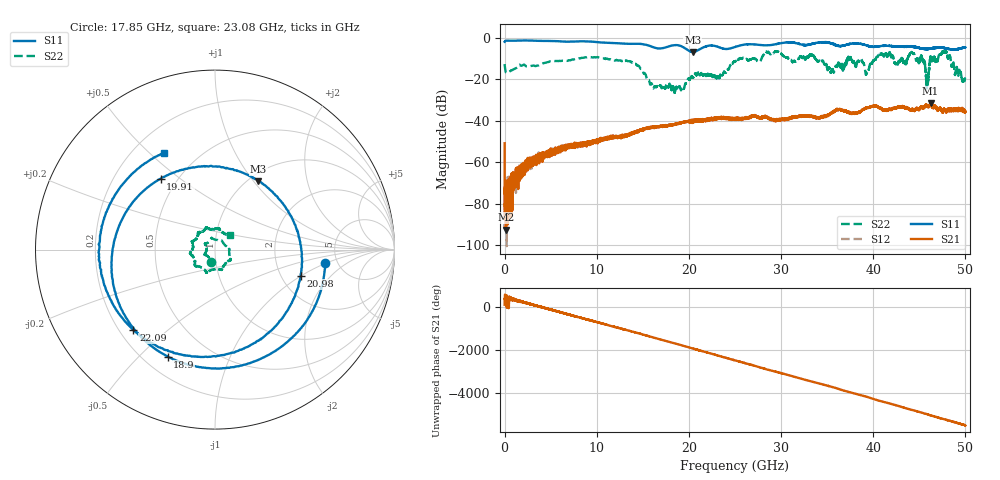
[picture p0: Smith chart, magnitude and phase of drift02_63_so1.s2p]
!Created with skrf (http://scikit-rf.org).
# Hz S RI R 50.0
!freq ReS11 ImS11 ReS21 ImS21 ReS12 ImS12 ReS22 ImS22
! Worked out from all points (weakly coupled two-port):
!   10001 points, 300 kHz to 50 GHz, reference 50 ohm
!   highest |S21| = -31.51 dB at 46.23 GHz (marker M1); lowest = -92.5 dB at 145.3 MHz (marker M2)
!   lowest |S11| = -6.9 dB at 20.41 GHz (marker M3), VSWR 2.64, Z = 55.2 + j52.7 ohm
!   |S11| at or under -10 dB: nowhere
!   |S22| runs from -26.8 to -6.1 dB; largest |S21 - S12| = 0.0029
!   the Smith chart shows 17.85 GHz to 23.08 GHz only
!   S11 on the Smith chart (normalised r, x): 17.85 GHz: 3.99, -0.93; 18.9 GHz: 0.29, -0.61; 19.91 GHz: 0.41, +0.43; 20.98 GHz: 2.55, -0.99; 22.09 GHz: 0.26, -0.39; 23.08 GHz: 0.32, +0.56
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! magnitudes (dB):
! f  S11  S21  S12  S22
! 300 kHz  -2.0  -50.9  -81.7  -12.8
! 145.3 MHz  -1.5  -92.5  -83.9  -16.8
! 3.055 GHz  -1.4  -57.7  -59.4  -13.5
! 8.335 GHz  -1.7  -52.1  -51.5  -9.7
! 13.71 GHz  -3.0  -46.5  -46.3  -11.7
! 16.67 GHz  -5.2  -42.9  -43.0  -23.7
! 17.85 GHz  -4.2  -42.4  -42.3  -22.9
! 18.9 GHz  -3.7  -41.2  -41.3  -23.9
! 19.91 GHz  -6.1  -40.2  -40.3  -19.8
! 20.41 GHz  -6.9  -39.7  -40.2  -19.2
! 20.98 GHz  -6.0  -39.8  -39.7  -16.7
! 22.09 GHz  -3.9  -39.9  -39.5  -17.6
! 23.08 GHz  -4.3  -38.5  -38.7  -18.9
! 25 GHz  -4.5  -39.3  -39.0  -11.6
! 33.34 GHz  -3.0  -37.8  -37.8  -8.4
! 39.32 GHz  -3.8  -33.7  -33.7  -16.9
! 41.67 GHz  -4.0  -34.7  -34.8  -7.8
! 44.26 GHz  -4.2  -34.5  -34.4  -7.3
! 45.85 GHz  -5.5  -33.0  -33.0  -21.2
! 46.23 GHz  -5.2  -31.5  -31.8  -9.0
! 47.75 GHz  -4.9  -34.4  -34.6  -7.2
! 50 GHz  -4.6  -35.7  -35.9  -18.3
